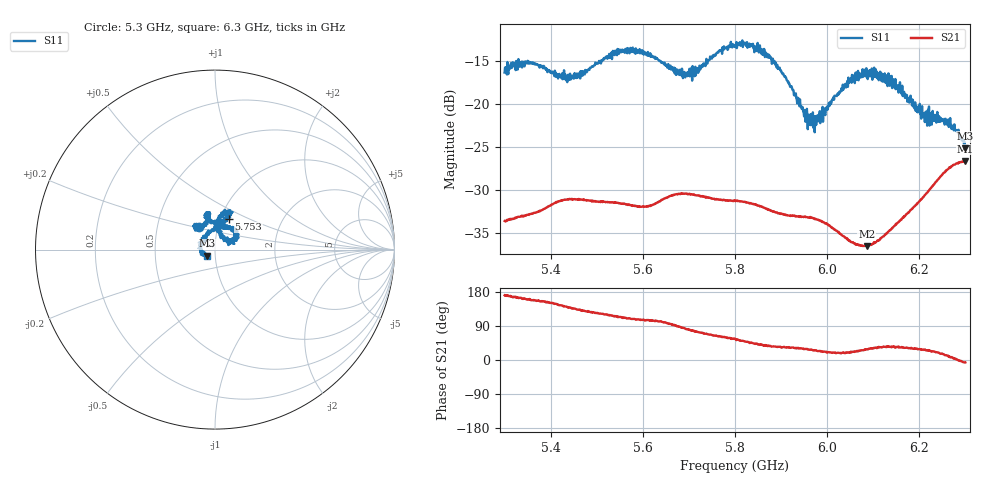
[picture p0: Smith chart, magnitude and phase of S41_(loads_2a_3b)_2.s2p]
! NanoVNA-App
! Date: 2026-11-04 23:47:42
! Start: 5,3GHz Stop: 6,3GHz Points: 1001
! S-Parameter data: F S11 S21 S12 S22
# Hz S RI R 50
!  Frequency  S11_Real  S11_Imag  S21_Real  S21_Imag  S12_Real  S12_Imag  S22_Real  S22_Imag
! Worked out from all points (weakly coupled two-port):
!   1001 points, 5.3 GHz to 6.3 GHz, reference 50 ohm
!   highest |S21| = -26.60 dB at 6.3 GHz (marker M1); lowest = -36.5 dB at 6.086 GHz (marker M2)
!   lowest |S11| = -25.1 dB at 6.3 GHz (marker M3), VSWR 1.12, Z = 45.7 - j3.18 ohm
!   |S11| at or under -10 dB: start of sweep to end of sweep
!   S12 and S22 are empty: the file has one direction only
!   S11 on the Smith chart (normalised r, x): 5.3 GHz: 0.82, +0.21; 5.753 GHz: 1.10, +0.39; 6.3 GHz: 0.91, -0.06
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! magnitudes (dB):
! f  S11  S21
! 5.3 GHz  -16.3  -33.6
! 5.35 GHz  -14.9  -32.9
! 5.436 GHz  -17.4  -31.0
! 5.467 GHz  -16.2  -31.1
! 5.55 GHz  -13.8  -31.5
! 5.601 GHz  -13.8  -31.9
! 5.634 GHz  -14.9  -31.3
! 5.692 GHz  -16.9  -30.4
! 5.753 GHz  -14.5  -31.0
! 5.8 GHz  -13.3  -31.2
! 5.836 GHz  -13.0  -31.5
! 5.873 GHz  -14.6  -32.3
! 5.909 GHz  -16.8  -32.8
! 5.953 GHz  -22.0  -33.1
! 5.967 GHz  -22.0  -33.2
! 5.99 GHz  -20.3  -33.6
! 6.049 GHz  -17.3  -35.8
! 6.086 GHz  -16.2  -36.5
! 6.134 GHz  -17.6  -34.7
! 6.207 GHz  -21.2  -30.9
! 6.262 GHz  -22.0  -27.6
! 6.3 GHz  -25.1  -26.6
